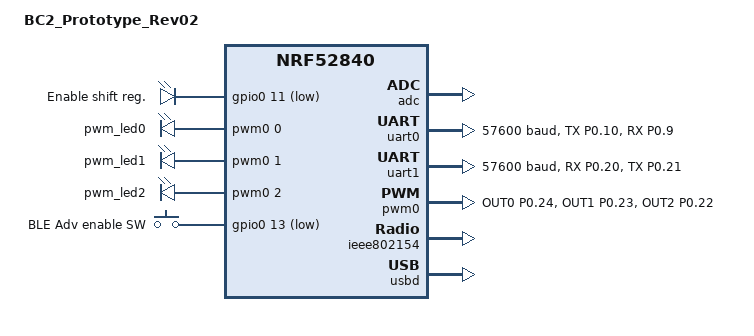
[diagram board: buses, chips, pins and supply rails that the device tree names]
// Copyright (c) 2023 Nordic Semiconductor ASA
// SPDX-License-Identifier: Apache-2.0
// modified 2023-09-28 10:28

/dts-v1/;
#include <nordic/nrf52840_qiaa.dtsi>

&pinctrl {
	uart0_default: uart0_default {
		group1 {
			psels = <NRF_PSEL(UART_TX, 0, 10)>;
		};
		group2 {
			psels = <NRF_PSEL(UART_RX, 0, 9)>;
			bias-pull-up;
		};
	};

	uart0_sleep: uart0_sleep {
		group1 {
			psels = <NRF_PSEL(UART_TX,0, 10)>, 
				<NRF_PSEL(UART_RX, 0, 9)>;
			low-power-enable;
		};
	};

	uart1_default: uart1_default {
		group1 {
			psels = <NRF_PSEL(UART_RX, 0, 20)>;
			bias-pull-up;
		};
		group2 {
			psels = <NRF_PSEL(UART_TX, 0, 21)>;
		};
	};

	uart1_sleep: uart1_sleep {
		group1 {
			psels = <NRF_PSEL(UART_RX, 0, 20)>,
					<NRF_PSEL(UART_TX, 0, 21)>;
			low-power-enable;
		};
	};

    pwm0_default: pwm0_default {
        group1 {
            psels = < NRF_PSEL(PWM_OUT0, 0, 24) >,	// RED
                    < NRF_PSEL(PWM_OUT1, 0, 23) >,	// GREEN
                    < NRF_PSEL(PWM_OUT2, 0, 22) >;	// BLUE
                    nordic,invert;
        };       
    };
	
    pwm0_sleep: pwm0_sleep {
        group1 {
            psels = < NRF_PSEL(PWM_OUT0, 0, 24) >,
                    < NRF_PSEL(PWM_OUT1, 0, 23) >,
                    < NRF_PSEL(PWM_OUT2, 0, 22) >;
                    low-power-enable;
        };
	};

};

/ {
	model = "BC2_Prototype_Rev02";
	compatible = "stihl,bc2-prototype-rev02";

	chosen {
		zephyr,console = &uart0;
		zephyr,shell-uart = &uart0;
		zephyr,uart-mcumgr = &uart0;
		zephyr,bt-mon-uart = &uart0;
		zephyr,bt-c2h-uart = &uart0;
		zephyr,sram = &sram0;
		zephyr,flash = &flash0;
		zephyr,code-partition = &slot0_partition;
		zephyr,ieee802154 = &ieee802154;
	};

	outputs {
		compatible = "gpio-leds";
		enable_spi: enable_spi {
			gpios = <&gpio0 11 GPIO_ACTIVE_LOW>;
			label = "Enable shift reg.";
		};
	};

	pwmleds {
        compatible = "pwm-leds";
        pwm_led0: pwm_led_0 {
            pwms = <&pwm0 0 PWM_MSEC(1) PWM_POLARITY_NORMAL>; // 0 - channel
        };
        pwm_led1: pwm_led_1{
            pwms = <&pwm0 1 PWM_MSEC(1) PWM_POLARITY_NORMAL>; // 1 - channel label = "MOTOR DRIVE 2";
        };
        pwm_led2: pwm_led_2{
            pwms = <&pwm0 2 PWM_MSEC(1) PWM_POLARITY_NORMAL>; // 1 - channel label = "MOTOR DRIVE 2";
        };
    };

    buttons {
        compatible = "gpio-keys";
        button0: button_0 {
            gpios = < &gpio0 13 (GPIO_PULL_UP | GPIO_ACTIVE_LOW) >;
            label = "BLE Adv enable SW";
        };
	};

	/* These aliases are provided for compatibility with samples */
	aliases {
		enable-spi = &enable_spi;
        pwm-led0 = &pwm_led0;
        pwm-led1 = &pwm_led1;
        pwm-led2 = &pwm_led2;
		sw0 = &button0;
				// bootloader-led0 = &led0;
		// mcuboot-button0 = &button0;
		// mcuboot-led0 = &led0;
		watchdog0 = &wdt0;
		// uart0 = &uart0;
		// uart1 = &uart1;		
		// spi-flash0 = &mx25r64;	//qspi
	};
};

&adc {
	status = "okay";
};

&gpiote {
	status = "okay";
};

&gpio0 {
	status = "okay";
};

&gpio1 {
	status = "okay";
};

&uart0 {
	compatible = "nordic,nrf-uarte";
	status = "okay";
	current-speed = <57600>;
	pinctrl-0 = <&uart0_default>;
	pinctrl-1 = <&uart0_sleep>;
	pinctrl-names = "default", "sleep";
};

&uart1 {
    compatible = "nordic,nrf-uarte";
    status = "okay";
    current-speed = <57600>;
    pinctrl-0 = <&uart1_default>;
    pinctrl-1 = <&uart1_sleep>;
    pinctrl-names = "default", "sleep";
};

&pwm0 {
    compatible = "nordic,nrf-pwm";
    reg = <0x4001c000 0x1000>;
    interrupts = <28 NRF_DEFAULT_IRQ_PRIORITY>; status = "okay";
    #pwm-cells = <3>;
    pinctrl-0 = <&pwm0_default>;
    pinctrl-1 = <&pwm0_sleep>;
    pinctrl-names = "default", "sleep";
};

&ieee802154 {
	status = "okay";
};

&flash0 {

	partitions {
		compatible = "fixed-partitions";
		#address-cells = <1>;
		#size-cells = <1>;

		boot_partition: partition@0 {
			label = "mcuboot";
			reg = <0x00000000 0x0000C000>;
		};
		slot0_partition: partition@c000 {
			label = "image-0";
			reg = <0x0000C000 0x00076000>;
		};
		slot1_partition: partition@82000 {
			label = "image-1";
			reg = <0x00082000 0x00076000>;
		};

		/*
		 * The flash starting at 0x000f8000 and ending at
		 * 0x000fffff is reserved for use by the application.
		 */

		/*
		 * Storage partition will be used by FCB/LittleFS/NVS
		 * if enabled.
		 */
		storage_partition: partition@f8000 {
			label = "storage";
			reg = <0x000f8000 0x00008000>;
		};
	};
}; 

zephyr_udc0: &usbd {
	compatible = "nordic,nrf-usbd";
	status = "okay";
};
